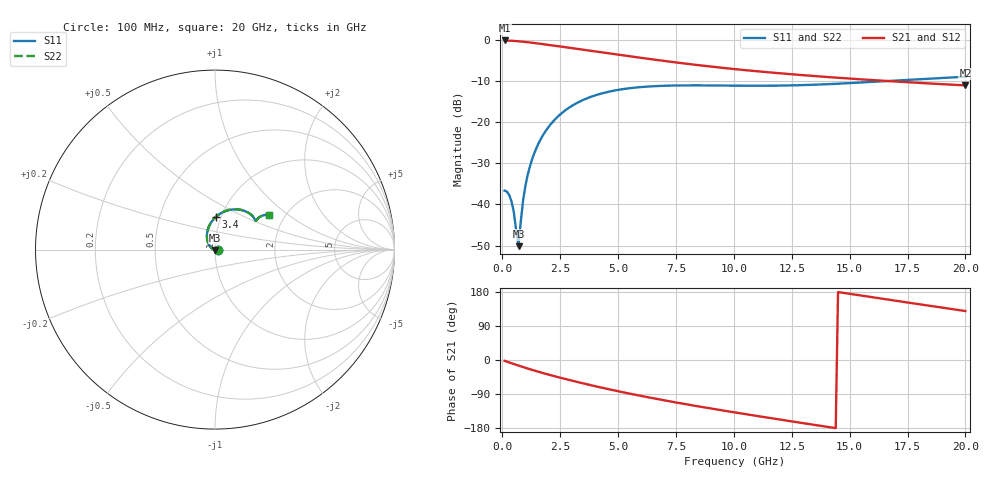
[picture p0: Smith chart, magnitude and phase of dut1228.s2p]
! Touchstone file exported from HFSS 2024.1.0
!  File:  C:/UserFiles/LocalFiles/RDL_TSV_Batchsim/temp_RDL_TSV_1228_1780263794.aedt
!  Generated:  05:58:51 AM Jun  1, 2026
!  Design:  RDL_TSV
!  Project:  temp_RDL_TSV_1228_1780263794
!  Setup:  Setup1
!  Solution:  Sweep
! Variables:
!  dtsv = 12.82um
!  hbump = 3um
!  htsv = 75.24um
!  ldown = 185.3um
!  lrdl = 689.62um
!  p = 40
!  p1 = 59.71um
!  rhole = 10um
!  subl = 3314.38um
!  t = 450um
!  tdown = 2.86um
!  trdl = 3.31um
!  viad = 10um
!  wdown = 21.47um
!  wrdl = 26.59um
!  xbump = 18um
# GHz S MA R 50.000000
! Terminal data exported
! Port[1] = TM1_1_T1
! Port[2] = TM1_4_T1
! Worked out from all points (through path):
!   200 points, 100 MHz to 20 GHz, reference 50 ohm
!   highest |S21| = -0.14 dB at 100 MHz (marker M1); lowest = -11.1 dB at 20 GHz (marker M2)
!   group delay of S21, straight-line fit = 30.1 ps
!   lowest |S11| = -50.2 dB at 700 MHz (marker M3), VSWR 1.01, Z = 49.8 - j0.271 ohm
!   |S11| at or under -10 dB: start of sweep to 16.59 GHz
!   |S22| runs from -50.1 to -8.9 dB; largest |S21 - S12| = 2.2e-14
!   S11 on the Smith chart (normalised r, x): 100 MHz: 1.03, -0.00; 3.4 GHz: 0.94, +0.35; 20 GHz: 1.65, +0.73
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0.1  0.0147 -2.3  0.9844 -2.2  0.9844 -2.2  0.0147 -2.3
! Gamma 0 0 0 0
! Port Impedance 50 0 50 0
0.3  0.01299 -13.1  0.9794 -6.5  0.9794 -6.5  0.01299 -13.1
0.4  0.01085 -20.7  0.9758 -8.6  0.9758 -8.6  0.01084 -20.7
0.5  0.008011 -31.5  0.9716 -10.7  0.9716 -10.7  0.008004 -31.5
0.7  0.003107 -118.9  0.9617 -14.8  0.9617 -14.8  0.003118 -119.3
0.8  0.006259 -172.7  0.9561 -16.8  0.9561 -16.8  0.006291 -172.8
0.9  0.01125 169.9  0.95 -18.7  0.95 -18.7  0.0113 169.9
1  0.01692 160.8  0.9435 -20.7  0.9435 -20.7  0.01697 160.8
1.2  0.0295 149.2  0.9298 -24.5  0.9298 -24.5  0.02957 149.2
1.5  0.05043 136.8  0.9077 -29.9  0.9077 -29.9  0.05054 136.8
1.9  0.08012 123.7  0.8773 -36.9  0.8773 -36.9  0.08029 123.7
2.3  0.1098 112.7  0.8469 -43.5  0.8469 -43.5  0.11 112.7
2.8  0.1446 100.8  0.8098 -51.4  0.8098 -51.4  0.1449 100.9
3.4  0.1812 88.9  0.7669 -60.4  0.7669 -60.4  0.1816 88.9
3.5  0.1866 87.0  0.7599 -61.8  0.7599 -61.8  0.187 87.1
5.2  0.2519 62.9  0.65 -84.9  0.65 -84.9  0.2525 63.0
6.8  0.2757 48.7  0.5639 -104.2  0.5639 -104.2  0.2765 48.7
8.3  0.28 40.7  0.4993 -120.6  0.4993 -120.6  0.281 40.7
10.1  0.2776 36.0  0.4397 -138.9  0.4397 -138.9  0.2787 36.1
13.4  0.2846 35.6  0.3648 -170.5  0.3648 -170.5  0.2858 35.5
16.7  0.3176 36.0  0.3155 159.1  0.3155 159.1  0.3189 35.9
20  0.3563 32.9  0.2799 129.2  0.2799 129.2  0.3577 32.9
